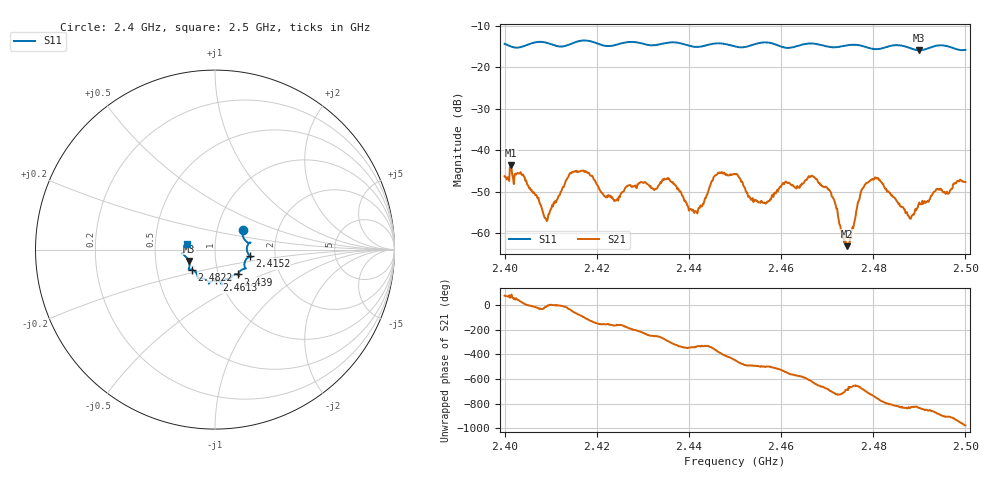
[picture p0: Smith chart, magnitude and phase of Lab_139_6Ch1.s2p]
# Hz S RI R 50
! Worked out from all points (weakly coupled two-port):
!   601 points, 2.4 GHz to 2.5 GHz, reference 50 ohm
!   highest |S21| = -43.57 dB at 2.4013 GHz (marker M1); lowest = -63.2 dB at 2.4743 GHz (marker M2)
!   lowest |S11| = -15.9 dB at 2.49 GHz (marker M3), VSWR 1.38, Z = 36.9 - j4.82 ohm
!   |S11| at or under -10 dB: start of sweep to end of sweep
!   S12 and S22 are empty: the file has one direction only
!   S11 on the Smith chart (normalised r, x): 2.4 GHz: 1.33, +0.30; 2.4152 GHz: 1.48, -0.11; 2.439 GHz: 1.24, -0.35; 2.4613 GHz: 0.96, -0.34; 2.4822 GHz: 0.76, -0.17; 2.5 GHz: 0.73, +0.05
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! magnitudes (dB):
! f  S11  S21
! 2.4 GHz  -14.4  -46.3
! 2.4013 GHz  -15.0  -43.6
! 2.409 GHz  -14.1  -56.7
! 2.4152 GHz  -14.1  -45.2
! 2.4167 GHz  -13.6  -45.0
! 2.4242 GHz  -14.6  -52.1
! 2.4333 GHz  -14.6  -48.6
! 2.439 GHz  -14.5  -52.3
! 2.4415 GHz  -15.1  -54.8
! 2.4458 GHz  -14.3  -46.0
! 2.45 GHz  -15.0  -45.7
! 2.4563 GHz  -14.0  -52.7
! 2.4613 GHz  -15.4  -47.9
! 2.4667 GHz  -14.3  -46.2
! 2.4708 GHz  -15.2  -50.2
! 2.4743 GHz  -14.7  -63.2
! 2.478 GHz  -15.0  -48.8
! 2.4822 GHz  -15.4  -48.2
! 2.4833 GHz  -15.0  -50.0
! 2.488 GHz  -15.4  -56.5
! 2.49 GHz  -15.9  -52.6
! 2.5 GHz  -15.8  -47.7
